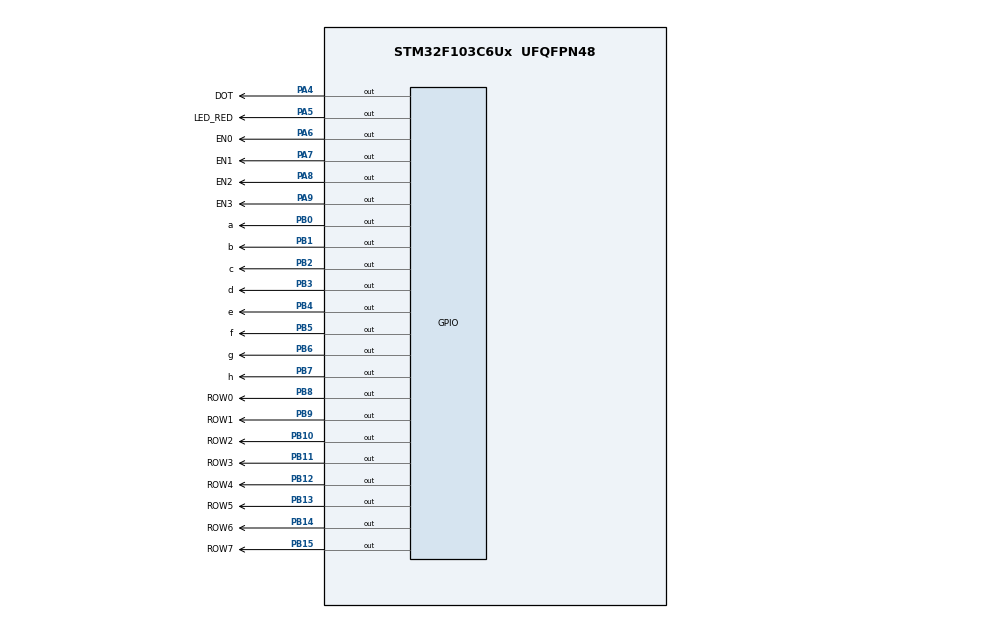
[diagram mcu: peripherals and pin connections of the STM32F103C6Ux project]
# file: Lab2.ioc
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Mcu.Family=STM32F1
Mcu.Name=STM32F103C6Ux
Mcu.Package=UFQFPN48
NVIC.PriorityGroup=NVIC_PRIORITYGROUP_4
NVIC.TIM2_IRQn=true\:0\:0\:false\:false\:true\:true\:true
PA4.GPIO_Label=DOT
PA4.Signal=GPIO_Output
PA5.GPIO_Label=LED_RED
PA5.Signal=GPIO_Output
PA6.GPIO_Label=EN0
PA6.Signal=GPIO_Output
PA7.GPIO_Label=EN1
PA7.Signal=GPIO_Output
PA8.GPIO_Label=EN2
PA8.Signal=GPIO_Output
PA9.GPIO_Label=EN3
PA9.Signal=GPIO_Output
PB0.GPIO_Label=a
PB0.Signal=GPIO_Output
PB1.GPIO_Label=b
PB1.Signal=GPIO_Output
PB10.GPIO_Label=ROW2
PB10.Signal=GPIO_Output
PB11.GPIO_Label=ROW3
PB11.Signal=GPIO_Output
PB12.GPIO_Label=ROW4
PB12.Signal=GPIO_Output
PB13.GPIO_Label=ROW5
PB13.Signal=GPIO_Output
PB14.GPIO_Label=ROW6
PB14.Signal=GPIO_Output
PB15.GPIO_Label=ROW7
PB15.Signal=GPIO_Output
PB2.GPIO_Label=c
PB2.Signal=GPIO_Output
PB3.GPIO_Label=d
PB3.Signal=GPIO_Output
PB4.GPIO_Label=e
PB4.Signal=GPIO_Output
PB5.GPIO_Label=f
PB5.Signal=GPIO_Output
PB6.GPIO_Label=g
PB6.Signal=GPIO_Output
PB7.GPIO_Label=h
PB7.Signal=GPIO_Output
PB8.GPIO_Label=ROW0
PB8.Signal=GPIO_Output
PB9.GPIO_Label=ROW1
PB9.Signal=GPIO_Output
ProjectManager.HeapSize=0x200
ProjectManager.StackSize=0x400
ProjectManager.TargetToolchain=STM32CubeIDE
RCC.APB1Freq_Value=8000000
RCC.APB2Freq_Value=8000000
TIM2.Period=9
TIM2.Prescaler=7999
VP_SYS_VS_ND.Mode=No_Debug
VP_TIM2_VS_ClockSourceINT.Mode=Internal
board=custom

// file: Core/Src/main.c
/* USER CODE BEGIN Header */
/**
  ******************************************************************************
  * @file           : main.c
  * @brief          : Main program body
  ******************************************************************************
  * @attention
  *
  * <h2><center>&copy; Copyright (c) 2022 STMicroelectronics.
  * All rights reserved.</center></h2>
  *
  * This software component is licensed by ST under BSD 3-Clause license,
  * the "License"; You may not use this file except in compliance with the
  * License. You may obtain a copy of the License at:
  *                        opensource.org/licenses/BSD-3-Clause
  *
  ******************************************************************************
  */
/* USER CODE END Header */
#include "main.h"

TIM_HandleTypeDef htim2;

void SystemClock_Config(void);
static void MX_GPIO_Init(void);
static void MX_TIM2_Init(void);

int main(void)
{

  /* MCU Configuration--------------------------------------------------------*/

  /* Reset of all peripherals, Initializes the Flash interface and the Systick. */
  HAL_Init();

  /* Configure the system clock */
  SystemClock_Config();

  /* Initialize all configured peripherals */
  MX_GPIO_Init();
  MX_TIM2_Init();
  /* USER CODE BEGIN 2 */
  HAL_TIM_Base_Start_IT(&htim2);
  /* USER CODE END 2 */

  /* Infinite loop */
  while (1)
  {

  }
}

void SystemClock_Config(void)
{
  RCC_OscInitTypeDef RCC_OscInitStruct = {0};
  RCC_ClkInitTypeDef RCC_ClkInitStruct = {0};

  /** Initializes the RCC Oscillators according to the specified parameters
  * in the RCC_OscInitTypeDef structure.
  */
  RCC_OscInitStruct.OscillatorType = RCC_OSCILLATORTYPE_HSI;
  RCC_OscInitStruct.HSIState = RCC_HSI_ON;
  RCC_OscInitStruct.HSICalibrationValue = RCC_HSICALIBRATION_DEFAULT;
  RCC_OscInitStruct.PLL.PLLState = RCC_PLL_NONE;
  if (HAL_RCC_OscConfig(&RCC_OscInitStruct) != HAL_OK)
  {
    Error_Handler();
  }
  /** Initializes the CPU, AHB and APB buses clocks
  */
  RCC_ClkInitStruct.ClockType = RCC_CLOCKTYPE_HCLK|RCC_CLOCKTYPE_SYSCLK
                              |RCC_CLOCKTYPE_PCLK1|RCC_CLOCKTYPE_PCLK2;
  RCC_ClkInitStruct.SYSCLKSource = RCC_SYSCLKSOURCE_HSI;
  RCC_ClkInitStruct.AHBCLKDivider = RCC_SYSCLK_DIV1;
  RCC_ClkInitStruct.APB1CLKDivider = RCC_HCLK_DIV1;
  RCC_ClkInitStruct.APB2CLKDivider = RCC_HCLK_DIV1;

  if (HAL_RCC_ClockConfig(&RCC_ClkInitStruct, FLASH_LATENCY_0) != HAL_OK)
  {
    Error_Handler();
  }
}

static void MX_TIM2_Init(void)
{

  TIM_ClockConfigTypeDef sClockSourceConfig = {0};
  TIM_MasterConfigTypeDef sMasterConfig = {0};

  htim2.Instance = TIM2;
  htim2.Init.Prescaler = 7999;
  htim2.Init.CounterMode = TIM_COUNTERMODE_UP;
  htim2.Init.Period = 9;
  htim2.Init.ClockDivision = TIM_CLOCKDIVISION_DIV1;
  htim2.Init.AutoReloadPreload = TIM_AUTORELOAD_PRELOAD_DISABLE;
  if (HAL_TIM_Base_Init(&htim2) != HAL_OK)
  {
    Error_Handler();
  }
  sClockSourceConfig.ClockSource = TIM_CLOCKSOURCE_INTERNAL;
  if (HAL_TIM_ConfigClockSource(&htim2, &sClockSourceConfig) != HAL_OK)
  {
    Error_Handler();
  }
  sMasterConfig.MasterOutputTrigger = TIM_TRGO_RESET;
  sMasterConfig.MasterSlaveMode = TIM_MASTERSLAVEMODE_DISABLE;
  if (HAL_TIMEx_MasterConfigSynchronization(&htim2, &sMasterConfig) != HAL_OK)
  {
    Error_Handler();
  }

}

static void MX_GPIO_Init(void)
{
  GPIO_InitTypeDef GPIO_InitStruct = {0};

  /* GPIO Ports Clock Enable */
  __HAL_RCC_GPIOA_CLK_ENABLE();
  __HAL_RCC_GPIOB_CLK_ENABLE();

  /*Configure GPIO pin Output Level */
  HAL_GPIO_WritePin(GPIOA, LED_RED_Pin|EN0_Pin|EN1_Pin, GPIO_PIN_RESET);

  /*Configure GPIO pin Output Level */
  HAL_GPIO_WritePin(GPIOB, a_Pin|b_Pin|c_Pin|d_Pin
                          |e_Pin|f_Pin|g_Pin, GPIO_PIN_RESET);

  /*Configure GPIO pins : LED_RED_Pin EN0_Pin EN1_Pin */
  GPIO_InitStruct.Pin = LED_RED_Pin|EN0_Pin|EN1_Pin;
  GPIO_InitStruct.Mode = GPIO_MODE_OUTPUT_PP;
  GPIO_InitStruct.Pull = GPIO_NOPULL;
  GPIO_InitStruct.Speed = GPIO_SPEED_FREQ_LOW;
  HAL_GPIO_Init(GPIOA, &GPIO_InitStruct);

  /*Configure GPIO pins : a_Pin b_Pin c_Pin d_Pin
                           e_Pin f_Pin g_Pin */
  GPIO_InitStruct.Pin = a_Pin|b_Pin|c_Pin|d_Pin
                          |e_Pin|f_Pin|g_Pin;
  GPIO_InitStruct.Mode = GPIO_MODE_OUTPUT_PP;
  GPIO_InitStruct.Pull = GPIO_NOPULL;
  GPIO_InitStruct.Speed = GPIO_SPEED_FREQ_LOW;
  HAL_GPIO_Init(GPIOB, &GPIO_InitStruct);

}

/* USER CODE BEGIN 4 */
int counter_led1 = 50;
int status_led1 = 1;
int counter_led2 = 50;
int status_led2 = 0;
void HAL_TIM_PeriodElapsedCallback(TIM_HandleTypeDef *htim){
	if(status_led1 == 1){
		counter_led1--;
		HAL_GPIO_WritePin(EN0_GPIO_Port, EN0_Pin, GPIO_PIN_RESET);
		HAL_GPIO_WritePin(EN1_GPIO_Port, EN1_Pin, GPIO_PIN_SET);
		status_led2 = 0;
		status_led1 = 1;
		display7SEG(1);
		if(counter_led1 <= 0){
			status_led1 = 0;
			status_led2 = 1;
			counter_led1 = 50;
		}
	}
	if(status_led2 == 1){
		counter_led2--;
		HAL_GPIO_WritePin(EN0_GPIO_Port, EN0_Pin, GPIO_PIN_SET);
		HAL_GPIO_WritePin(EN1_GPIO_Port, EN1_Pin, GPIO_PIN_RESET);
		status_led2 = 1;
		status_led1 = 0;
		display7SEG(2);
		if(counter_led2 <= 0){
			status_led1 = 1;
			status_led2 = 0;
			counter_led2 = 50;
		}
	}
}

void display7SEG(int counter){
	if(counter == 0){
		HAL_GPIO_WritePin (a_GPIO_Port, a_Pin, GPIO_PIN_RESET);
		HAL_GPIO_WritePin (b_GPIO_Port, b_Pin, GPIO_PIN_RESET);
		HAL_GPIO_WritePin (c_GPIO_Port, c_Pin, GPIO_PIN_RESET);
		HAL_GPIO_WritePin (d_GPIO_Port, d_Pin, GPIO_PIN_RESET);
		HAL_GPIO_WritePin (e_GPIO_Port, e_Pin, GPIO_PIN_RESET);
		HAL_GPIO_WritePin (f_GPIO_Port, f_Pin, GPIO_PIN_RESET);
		HAL_GPIO_WritePin (g_GPIO_Port, g_Pin, GPIO_PIN_SET);
	}
	else if(counter == 1){
		HAL_GPIO_WritePin (a_GPIO_Port, a_Pin, GPIO_PIN_SET);
		HAL_GPIO_WritePin (b_GPIO_Port, b_Pin, GPIO_PIN_RESET);
		HAL_GPIO_WritePin (c_GPIO_Port, c_Pin, GPIO_PIN_RESET);
		HAL_GPIO_WritePin (d_GPIO_Port, d_Pin, GPIO_PIN_SET);
		HAL_GPIO_WritePin (e_GPIO_Port, e_Pin, GPIO_PIN_SET);
		HAL_GPIO_WritePin (f_GPIO_Port, f_Pin, GPIO_PIN_SET);
		HAL_GPIO_WritePin (g_GPIO_Port, g_Pin, GPIO_PIN_SET);
	}
	else if (counter == 2){
		HAL_GPIO_WritePin (a_GPIO_Port, a_Pin, GPIO_PIN_RESET);
		HAL_GPIO_WritePin (b_GPIO_Port, b_Pin, GPIO_PIN_RESET);
		HAL_GPIO_WritePin (c_GPIO_Port, c_Pin, GPIO_PIN_SET);
		HAL_GPIO_WritePin (d_GPIO_Port, d_Pin, GPIO_PIN_RESET);
		HAL_GPIO_WritePin (e_GPIO_Port, e_Pin, GPIO_PIN_RESET);
		HAL_GPIO_WritePin (f_GPIO_Port, f_Pin, GPIO_PIN_SET);
		HAL_GPIO_WritePin (g_GPIO_Port, g_Pin, GPIO_PIN_RESET);
	}
	else if (counter == 3){
		HAL_GPIO_WritePin (a_GPIO_Port, a_Pin, GPIO_PIN_RESET);
		HAL_GPIO_WritePin (b_GPIO_Port, b_Pin, GPIO_PIN_RESET);
		HAL_GPIO_WritePin (c_GPIO_Port, c_Pin, GPIO_PIN_RESET);
		HAL_GPIO_WritePin (d_GPIO_Port, d_Pin, GPIO_PIN_RESET);
		HAL_GPIO_WritePin (e_GPIO_Port, e_Pin, GPIO_PIN_SET);
		HAL_GPIO_WritePin (f_GPIO_Port, f_Pin, GPIO_PIN_SET);
		HAL_GPIO_WritePin (g_GPIO_Port, g_Pin, GPIO_PIN_RESET);
	}
	else if (counter == 4){
		HAL_GPIO_WritePin (a_GPIO_Port, a_Pin, GPIO_PIN_SET);
		HAL_GPIO_WritePin (b_GPIO_Port, b_Pin, GPIO_PIN_RESET);
		HAL_GPIO_WritePin (c_GPIO_Port, c_Pin, GPIO_PIN_RESET);
		HAL_GPIO_WritePin (d_GPIO_Port, d_Pin, GPIO_PIN_SET);
		HAL_GPIO_WritePin (e_GPIO_Port, e_Pin, GPIO_PIN_SET);
		HAL_GPIO_WritePin (f_GPIO_Port, f_Pin, GPIO_PIN_RESET);
		HAL_GPIO_WritePin (g_GPIO_Port, g_Pin, GPIO_PIN_RESET);
	}
	else if (counter == 5){
		HAL_GPIO_WritePin (a_GPIO_Port, a_Pin, GPIO_PIN_RESET);
		HAL_GPIO_WritePin (b_GPIO_Port, b_Pin, GPIO_PIN_SET);
		HAL_GPIO_WritePin (c_GPIO_Port, c_Pin, GPIO_PIN_RESET);
		HAL_GPIO_WritePin (d_GPIO_Port, d_Pin, GPIO_PIN_RESET);
		HAL_GPIO_WritePin (e_GPIO_Port, e_Pin, GPIO_PIN_SET);
		HAL_GPIO_WritePin (f_GPIO_Port, f_Pin, GPIO_PIN_RESET);
		HAL_GPIO_WritePin (g_GPIO_Port, g_Pin, GPIO_PIN_RESET);
	}
	else if (counter == 6){
		HAL_GPIO_WritePin (a_GPIO_Port, a_Pin, GPIO_PIN_RESET);
		HAL_GPIO_WritePin (b_GPIO_Port, b_Pin, GPIO_PIN_SET);
		HAL_GPIO_WritePin (c_GPIO_Port, c_Pin, GPIO_PIN_RESET);
		HAL_GPIO_WritePin (d_GPIO_Port, d_Pin, GPIO_PIN_RESET);
		HAL_GPIO_WritePin (e_GPIO_Port, e_Pin, GPIO_PIN_RESET);
		HAL_GPIO_WritePin (f_GPIO_Port, f_Pin, GPIO_PIN_RESET);
		HAL_GPIO_WritePin (g_GPIO_Port, g_Pin, GPIO_PIN_RESET);
	}
	else if (counter == 7){
		HAL_GPIO_WritePin (a_GPIO_Port, a_Pin, GPIO_PIN_RESET);
		HAL_GPIO_WritePin (b_GPIO_Port, b_Pin, GPIO_PIN_RESET);
		HAL_GPIO_WritePin (c_GPIO_Port, c_Pin, GPIO_PIN_RESET);
		HAL_GPIO_WritePin (d_GPIO_Port, d_Pin, GPIO_PIN_SET);
		HAL_GPIO_WritePin (e_GPIO_Port, e_Pin, GPIO_PIN_SET);
		HAL_GPIO_WritePin (f_GPIO_Port, f_Pin, GPIO_PIN_SET);
		HAL_GPIO_WritePin (g_GPIO_Port, g_Pin, GPIO_PIN_SET);
	}
	else if (counter == 8){
		HAL_GPIO_WritePin (a_GPIO_Port, a_Pin, GPIO_PIN_RESET);
		HAL_GPIO_WritePin (b_GPIO_Port, b_Pin, GPIO_PIN_RESET);
		HAL_GPIO_WritePin (c_GPIO_Port, c_Pin, GPIO_PIN_RESET);
		HAL_GPIO_WritePin (d_GPIO_Port, d_Pin, GPIO_PIN_RESET);
		HAL_GPIO_WritePin (e_GPIO_Port, e_Pin, GPIO_PIN_RESET);
		HAL_GPIO_WritePin (f_GPIO_Port, f_Pin, GPIO_PIN_RESET);
		HAL_GPIO_WritePin (g_GPIO_Port, g_Pin, GPIO_PIN_RESET);
	}
	else if (counter == 9){
		HAL_GPIO_WritePin (a_GPIO_Port, a_Pin, GPIO_PIN_RESET);
		HAL_GPIO_WritePin (b_GPIO_Port, b_Pin, GPIO_PIN_RESET);
		HAL_GPIO_WritePin (c_GPIO_Port, c_Pin, GPIO_PIN_RESET);
		HAL_GPIO_WritePin (d_GPIO_Port, d_Pin, GPIO_PIN_RESET);
		HAL_GPIO_WritePin (e_GPIO_Port, e_Pin, GPIO_PIN_SET);
		HAL_GPIO_WritePin (f_GPIO_Port, f_Pin, GPIO_PIN_RESET);
		HAL_GPIO_WritePin (g_GPIO_Port, g_Pin, GPIO_PIN_RESET);
	}
}
/* USER CODE END 4 */

void Error_Handler(void)
{
  __disable_irq();
  while (1)
  {
  }
}

/************************ (C) COPYRIGHT STMicroelectronics *****END OF FILE****/
